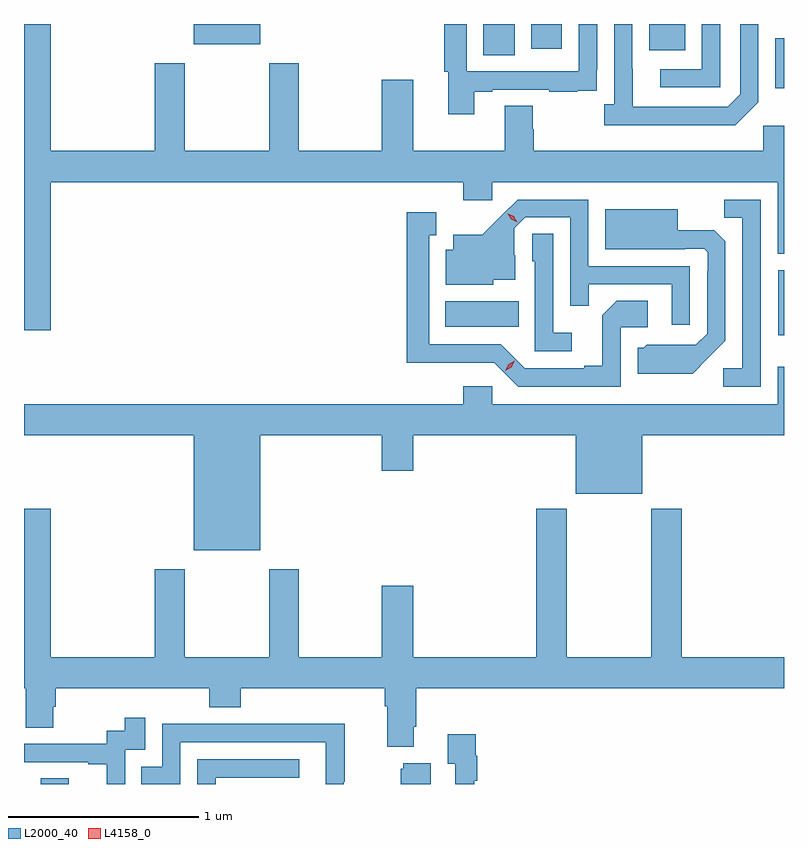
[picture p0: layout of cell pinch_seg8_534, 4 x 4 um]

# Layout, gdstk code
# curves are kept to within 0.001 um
import gdstk
lib = gdstk.Library(unit=1e-6, precision=1e-09)
def R(c, l, rs):  # rectangles x0, y0, x1, y1
    for r in rs: c.add(gdstk.rectangle(r[:2], r[2:], *l))
def P(c, l, *ps):  # polygons
    for p in ps: c.add(gdstk.Polygon(p, *l))
L2000_40 = (2000, 40)
L4158_0 = (4158, 0)

pinch_seg8_534 = lib.new_cell('pinch_seg8_534')
R(pinch_seg8_534, L2000_40, [(115.26,1118.66,115.408,1118.689), (119.141,1121.022,119.172,1121.365), (117.389,1121.066,117.776,1121.2), (119.126,1122.322,119.172,1122.586), (117.59,1122.496,117.754,1122.66), (118.463,1122.521,118.651,1122.66), (117.842,1122.531,118.003,1122.66), (116.066,1122.554,116.416,1122.66)])
P(pinch_seg8_534, L2000_40, [(119.037,1122.249),(119.037,1122.66),(118.941,1122.66),(118.941,1122.291),(118.875,1122.225),(118.375,1122.225),(118.374,1122.66),(118.278,1122.66),(118.278,1122.238),(118.227,1122.238),(118.227,1122.128),(118.916,1122.128)],
  [(117.541,1122.303),(117.637,1122.303),(117.637,1122.315),(117.937,1122.315),(117.937,1122.303),(118.085,1122.303),(118.085,1122.309),(118.187,1122.309),(118.187,1122.418),(118.188,1122.418),(118.188,1122.66),(118.092,1122.66),(118.092,1122.411),(117.501,1122.411),(117.501,1122.66),(117.385,1122.66),(117.385,1122.408),(117.404,1122.408),(117.404,1122.186),(117.541,1122.186)],
  [(118.836,1122.66),(118.74,1122.66),(118.74,1122.423),(118.521,1122.423),(118.521,1122.327),(118.836,1122.327)],
  [(115.313,1121.828),(117.485,1121.828),(117.485,1121.733),(117.636,1121.733),(117.636,1121.828),(119.138,1121.828),(119.138,1121.45),(119.172,1121.45),(119.172,1122.124),(119.064,1122.124),(119.064,1121.992),(117.854,1121.992),(117.854,1122.105),(117.849,1122.105),(117.849,1122.23),(117.701,1122.23),(117.701,1121.992),(117.22,1121.992),(117.22,1122.367),(117.056,1122.367),(117.056,1121.992),(116.619,1121.992),(116.619,1122.454),(116.464,1122.454),(116.464,1121.992),(116.019,1121.992),(116.019,1122.454),(115.859,1122.454),(115.859,1121.992),(115.313,1121.992),(115.313,1122.66),(115.172,1122.66),(115.172,1121.049),(115.313,1121.049)],
  [(119.049,1121.736),(118.858,1121.736),(118.858,1121.641),(118.953,1121.641),(118.953,1120.848),(118.851,1120.848),(118.851,1120.752),(119.049,1120.752)],
  [(118.677,1121.385),(118.143,1121.385),(118.143,1121.736),(117.77,1121.736),(117.583,1121.551),(117.431,1121.551),(117.431,1121.473),(117.392,1121.473),(117.392,1121.288),(117.642,1121.288),(117.642,1121.315),(117.757,1121.315),(117.757,1121.444),(117.753,1121.444),(117.753,1121.586),(117.81,1121.643),(118.047,1121.643),(118.047,1121.176),(118.145,1121.176),(118.145,1121.289),(118.581,1121.289),(118.581,1121.076),(118.677,1121.076)],
  [(118.771,1120.901),(118.863,1120.994),(118.863,1121.516),(118.804,1121.575),(118.612,1121.575),(118.612,1121.686),(118.232,1121.686),(118.232,1121.474),(118.652,1121.474),(118.652,1121.478),(118.752,1121.478),(118.77,1121.46),(118.77,1121.36),(118.767,1121.36),(118.767,1121.031),(118.707,1120.971),(118.45,1120.972),(118.434,1120.956),(118.403,1120.956),(118.403,1120.82),(118.691,1120.82)],
  [(118.314,1121.064),(118.456,1121.064),(118.456,1121.204),(118.291,1121.204),(118.215,1121.128),(118.215,1120.861),(118.121,1120.861),(118.121,1120.848),(117.807,1120.848),(117.681,1120.974),(117.304,1120.974),(117.304,1121.547),(117.343,1121.547),(117.343,1121.668),(117.186,1121.668),(117.186,1120.877),(117.648,1120.878),(117.774,1120.752),(118.314,1120.752)],
  [(118.054,1121.035),(117.957,1121.035),(117.957,1121.555),(117.846,1121.555),(117.846,1121.412),(117.861,1121.412),(117.861,1120.938),(118.054,1120.938)],
  [(116.416,1120.496),(117.056,1120.496),(117.056,1120.308),(117.22,1120.308),(117.22,1120.496),(118.076,1120.496),(118.076,1120.187),(118.426,1120.187),(118.426,1120.496),(119.172,1120.496),(119.172,1120.855),(119.138,1120.855),(119.138,1120.66),(117.636,1120.66),(117.636,1120.753),(117.485,1120.753),(117.485,1120.66),(115.172,1120.66),(115.172,1120.496),(116.066,1120.496),(116.066,1119.89),(116.416,1119.89)],
  [(117.223,1118.962),(117.236,1118.962),(117.236,1119.164),(119.172,1119.164),(119.172,1119.328),(118.634,1119.328),(118.634,1120.108),(118.474,1120.108),(118.474,1119.328),(118.029,1119.328),(118.029,1120.108),(117.869,1120.108),(117.869,1119.328),(117.22,1119.328),(117.22,1119.703),(117.056,1119.703),(117.056,1119.328),(116.619,1119.328),(116.619,1119.79),(116.464,1119.79),(116.464,1119.328),(116.019,1119.328),(116.019,1119.79),(115.859,1119.79),(115.859,1119.328),(115.313,1119.328),(115.313,1120.108),(115.172,1120.108),(115.172,1119.164),(115.18,1119.164),(115.18,1118.956),(115.327,1118.956),(115.327,1119.066),(115.34,1119.066),(115.34,1119.164),(116.147,1119.164),(116.147,1119.065),(116.312,1119.065),(116.312,1119.164),(117.071,1119.164),(117.071,1119.068),(117.083,1119.068),(117.083,1118.855),(117.223,1118.855)],
  [(115.704,1118.841),(115.809,1118.841),(115.809,1119.01),(115.701,1119.01),(115.701,1118.94),(115.608,1118.94),(115.608,1118.871),(115.172,1118.871),(115.172,1118.775),(115.511,1118.775),(115.511,1118.763),(115.607,1118.763),(115.607,1118.66),(115.704,1118.66)],
  [(115.995,1118.88),(116.759,1118.88),(116.759,1118.66),(116.856,1118.66),(116.856,1118.671),(116.859,1118.671),(116.859,1118.978),(116.395,1118.978),(116.395,1118.976),(115.899,1118.976),(115.899,1118.751),(115.789,1118.751),(115.789,1118.66),(115.995,1118.66)],
  [(117.542,1118.678),(117.557,1118.678),(117.557,1118.81),(117.55,1118.81),(117.55,1118.923),(117.401,1118.923),(117.401,1118.767),(117.441,1118.767),(117.441,1118.66),(117.542,1118.66)],
  [(116.181,1118.694),(116.62,1118.694),(116.62,1118.79),(116.085,1118.79),(116.085,1118.66),(116.181,1118.66)],
  [(117.313,1118.77),(117.167,1118.77),(117.167,1118.739),(117.155,1118.739),(117.155,1118.66),(117.313,1118.66)])
P(pinch_seg8_534, L4158_0, [(117.768,1121.617),(117.737,1121.632),(117.719,1121.662),(117.719,1121.662),(117.72,1121.662),(117.75,1121.647),(117.768,1121.617),(117.768,1121.617)],
  [(117.705,1120.835),(117.705,1120.835),(117.723,1120.868),(117.755,1120.887),(117.755,1120.887),(117.755,1120.887),(117.737,1120.854),(117.706,1120.835)])

lib.write_gds('pinch_seg8_534.gds')
